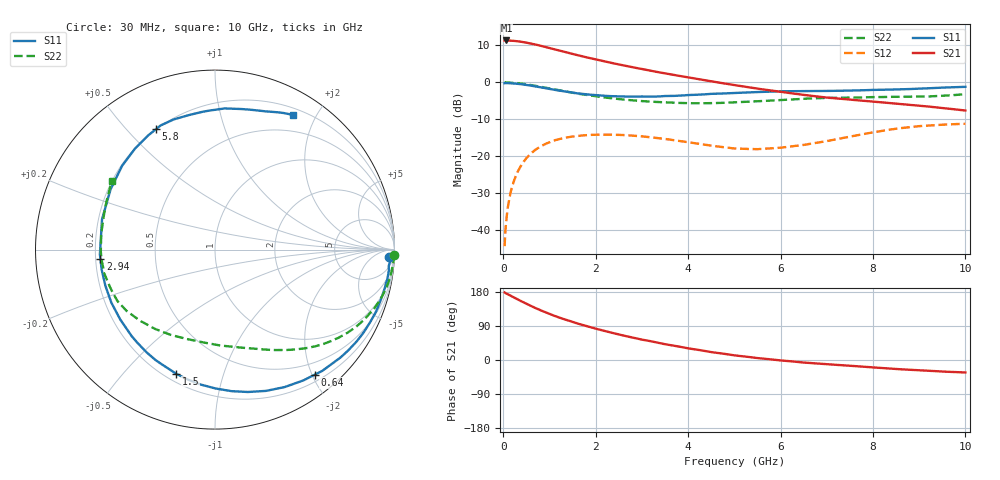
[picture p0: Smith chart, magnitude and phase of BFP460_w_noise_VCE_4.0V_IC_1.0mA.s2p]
! (c) 2016  Infineon Technologies AG, Munich
! Infineon Technologies  Discrete & RF Semiconductors
! BFP460
! VCE =  4.0 V,  IC =  1.0 mA
! Common Emitter S-Parameters:  Jan 2016
# GHz  S  MA  R  50
!  f  S11  S21  S12  S22
! GHz  MAG  ANG  MAG  ANG  MAG  ANG  MAG  ANG
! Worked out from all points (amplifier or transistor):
!   229 points, 30 MHz to 10 GHz, reference 50 ohm
!   highest |S21| = 11.3 dB at 70 MHz (marker M1)
!   |S21| within 3 dB of that: start of sweep to 1.3 GHz
!   unconditionally stable (mu >= 1): 4.321 GHz to 7.853 GHz
!   at 280 MHz: K = 0.07, MSG = 18.2 dB, |S12| = -25.2 dB
!   at 1.78 GHz: K = 0.41, MSG = 10.6 dB, |S12| = -14.3 dB
!   at 10 GHz: K = 0.95, MSG = 1.8 dB, |S12| = -11.2 dB
!   lowest NFmin = 0.69 dB at 450 MHz
!   S11 on the Smith chart (normalised r, x): 30 MHz: 22, -33; 640 MHz: 0.30, -2.04; 1.5 GHz: 0.24, -0.71; 2.94 GHz: 0.22, -0.04; 5.8 GHz: 0.20, +0.60; 10 GHz: 0.28, +1.70
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0.03  0.9729 -2.4  3.687 178.1  0.006 86.6  0.9986 -1.6
0.07  0.9744 -6.0  3.692 175.0  0.0142 86.2  0.9973 -3.1
0.15  0.9705 -12.5  3.666 170.2  0.0301 81.5  0.9922 -6.7
0.26  0.9602 -21.7  3.63 163.3  0.0513 75.8  0.9811 -11.5
0.45  0.9312 -37.0  3.495 151.4  0.0852 66.0  0.9505 -19.4
0.64  0.8912 -51.5  3.312 140.4  0.1139 56.9  0.9092 -26.6
0.8  0.8584 -63.2  3.141 131.5  0.1342 50.0  0.8715 -32.1
1  0.8142 -77.0  2.926 121.6  0.1542 42.3  0.8237 -38.2
1.2  0.7743 -89.6  2.713 112.5  0.1692 35.3  0.7793 -43.6
1.5  0.7244 -107.4  2.425 100.2  0.184 26.4  0.7205 -50.4
1.7  0.6986 -118.4  2.258 92.9  0.19 21.4  0.6881 -54.4
2  0.6693 -133.9  2.043 82.7  0.1947 14.6  0.6459 -60.0
2.26  0.652 -146.4  1.878 74.6  0.1953 9.5  0.6159 -64.5
2.6  0.6431 -161.7  1.697 64.5  0.1927 3.7  0.5835 -70.5
2.94  0.6405 -175.3  1.539 55.5  0.1863 -1.0  0.56 -76.5
3.4  0.6449 168.4  1.356 44.4  0.1735 -5.8  0.5383 -84.9
4.5  0.6971 137.9  1.032 20.9  0.1383 -8.1  0.5219 -107.1
5.1  0.721 126.6  0.897 11.0  0.126 -1.9  0.5379 -119.4
5.8  0.7468 116.2  0.773 1.5  0.1273 8.0  0.5654 -132.9
6.8  0.7612 103.8  0.642 -9.3  0.1522 18.3  0.6074 -149.5
8.4  0.7968 79.4  0.52 -22.9  0.23 16.0  0.6349 -175.0
10  0.8679 59.8  0.414 -32.9  0.2743 2.4  0.6918 146.2
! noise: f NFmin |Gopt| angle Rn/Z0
0.45  0.69  0.73  19  0.45
0.9  0.78  0.68  41  0.42
1.9  1.48  0.47  96  0.28
3.5  2.5  0.41  -173  0.14
